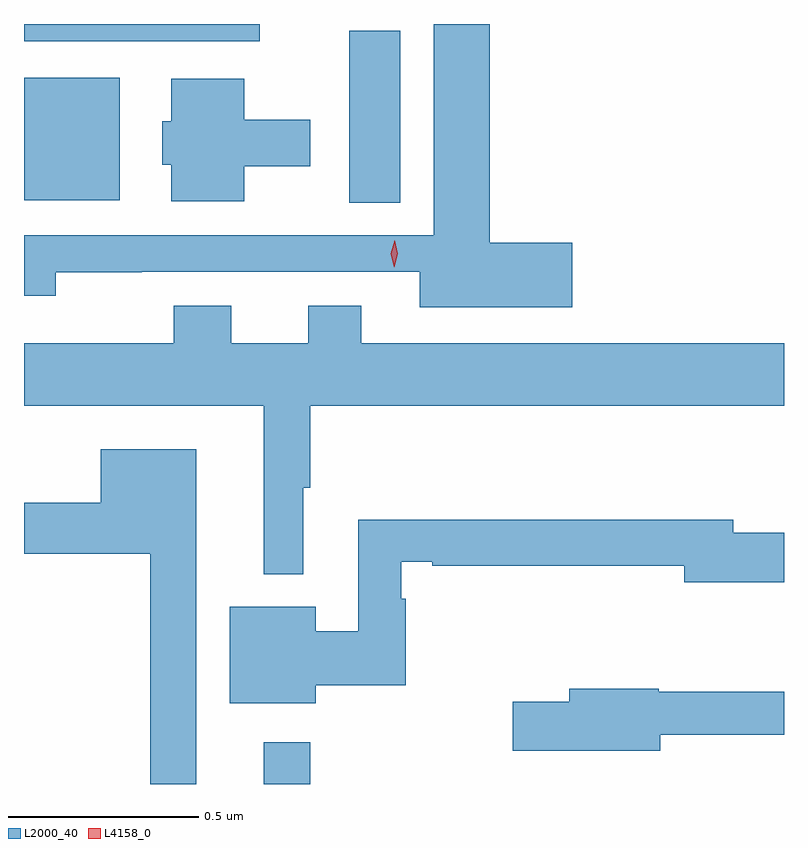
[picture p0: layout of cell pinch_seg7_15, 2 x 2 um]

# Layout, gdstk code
import gdstk
lib = gdstk.Library(unit=1e-6, precision=1e-09)
def R(c, l, rs):  # rectangles x0, y0, x1, y1
    for r in rs: c.add(gdstk.rectangle(r[:2], r[2:], *l))
def P(c, l, *ps):  # polygons
    for p in ps: c.add(gdstk.Polygon(p, *l))
L2000_40 = (2000, 40)
L4158_0 = (4158, 0)

pinch_seg7_15 = lib.new_cell('pinch_seg7_15')
R(pinch_seg7_15, L2000_40, [(1026.263,1046.24,1026.385,1046.35), (1026.488,1047.769,1026.622,1048.222), (1025.632,1047.776,1025.884,1048.099), (1025.632,1048.194,1026.253,1048.24)])
P(pinch_seg7_15, L2000_40, [(1027.075,1047.665),(1026.857,1047.665),(1026.857,1048.24),(1026.71,1048.24),(1026.71,1047.684),(1025.632,1047.684),(1025.632,1047.525),(1025.715,1047.525),(1025.715,1047.587),(1025.942,1047.587),(1025.942,1047.588),(1026.674,1047.588),(1026.674,1047.494),(1027.075,1047.494)],
  [(1026.211,1047.866),(1026.385,1047.866),(1026.385,1047.988),(1026.211,1047.988),(1026.211,1048.096),(1026.02,1048.096),(1026.02,1047.984),(1025.996,1047.984),(1025.996,1047.87),(1026.02,1047.87),(1026.02,1047.773),(1026.211,1047.773)],
  [(1026.367,1047.019),(1026.385,1047.019),(1026.385,1047.236),(1027.632,1047.236),(1027.632,1047.4),(1026.52,1047.4),(1026.52,1047.499),(1026.38,1047.499),(1026.38,1047.4),(1026.178,1047.4),(1026.178,1047.499),(1026.026,1047.499),(1026.026,1047.4),(1025.632,1047.4),(1025.632,1047.236),(1026.263,1047.236),(1026.263,1046.792),(1026.367,1046.792)],
  [(1026.085,1047.121),(1025.834,1047.121),(1025.834,1046.98),(1025.632,1046.98),(1025.632,1046.846),(1025.964,1046.846),(1025.964,1046.24),(1026.085,1046.24)],
  [(1026.4,1046.5),(1026.637,1046.5),(1026.637,1046.727),(1026.625,1046.727),(1026.625,1046.825),(1026.706,1046.825),(1026.706,1046.814),(1027.37,1046.814),(1027.37,1046.771),(1027.632,1046.771),(1027.632,1046.901),(1027.498,1046.901),(1027.498,1046.935),(1026.512,1046.935),(1026.512,1046.642),(1026.4,1046.642),(1026.4,1046.707),(1026.173,1046.707),(1026.173,1046.453),(1026.4,1046.453)],
  [(1027.306,1046.37),(1027.632,1046.37),(1027.632,1046.483),(1027.302,1046.483),(1027.302,1046.491),(1027.067,1046.491),(1027.067,1046.457),(1026.918,1046.457),(1026.918,1046.327),(1027.306,1046.327)])
P(pinch_seg7_15, L4158_0, [(1026.606,1047.6),(1026.606,1047.6),(1026.597,1047.635),(1026.607,1047.671),(1026.607,1047.671),(1026.607,1047.671),(1026.616,1047.635),(1026.606,1047.6)])

lib.write_gds('pinch_seg7_15.gds')
